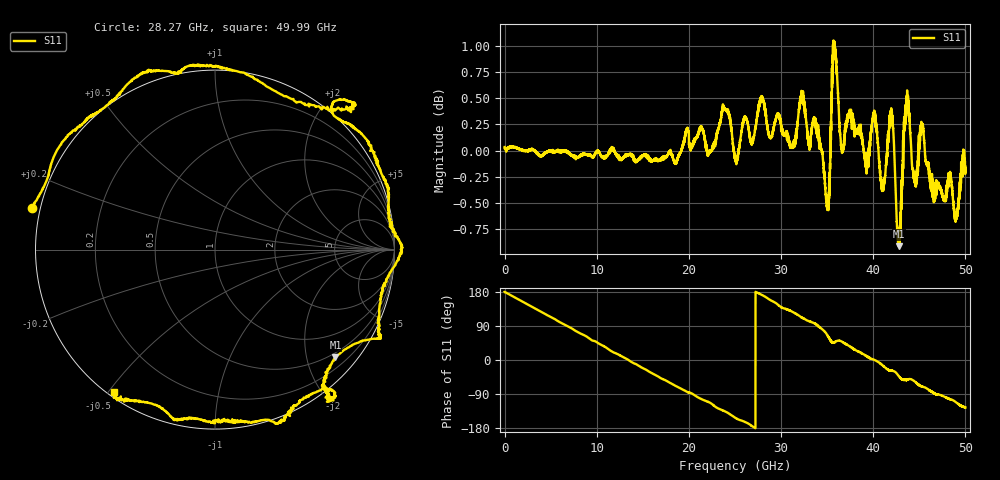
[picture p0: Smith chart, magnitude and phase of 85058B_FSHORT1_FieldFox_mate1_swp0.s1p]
!Created with skrf (http://scikit-rf.org).
# Hz S RI R 50.0
!freq ReS11 ImS11
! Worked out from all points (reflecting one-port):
!   10000 points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, 5.3 MHz to 50 GHz, reference 50 ohm
!   lowest |S11| = -0.9 dB at 42.75 GHz (marker M1), VSWR 18.98, Z = 20.3 - j128 ohm
!   phase of S11 starts at 180 deg and turns -665 deg over the sweep
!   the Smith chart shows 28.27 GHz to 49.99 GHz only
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5299970  -1.004 0.00199
2.855283e9  -0.7885 0.6164
6.255262e9  -0.1165 0.9923
8.895247e9  0.4668 0.8794
1.139523e10  0.8961 0.4436
1.250522e10  0.9691 0.2124
1.531021e10  0.9015 -0.4218
1.875519e10  0.3274 -0.9339
2.151517e10  -0.2636 -0.9885
2.387516e10  -0.7418 -0.7407
2.500515e10  -0.8792 -0.4618
2.794013e10  -1.049 0.1579
2.994512e10  -0.7999 0.6532
3.125511e10  -0.6025 0.805
3.230511e10  -0.386 0.9847
3.37951e10  -0.084 1.028
3.478509e10  0.2704 0.92
3.563009e10  0.7665 0.7963
3.648008e10  0.6488 0.7744
3.750507e10  0.8481 0.598
4.016506e10  1.04 -0.00309
4.207505e10  0.9117 -0.4924
4.274504e10  0.6712 -0.5995
4.375504e10  0.672 -0.8227
4.435503e10  0.5731 -0.7887
4.527003e10  0.3608 -0.9634
4.703502e10  -0.0157 -0.9639
5e10  -0.5644 -0.7976
